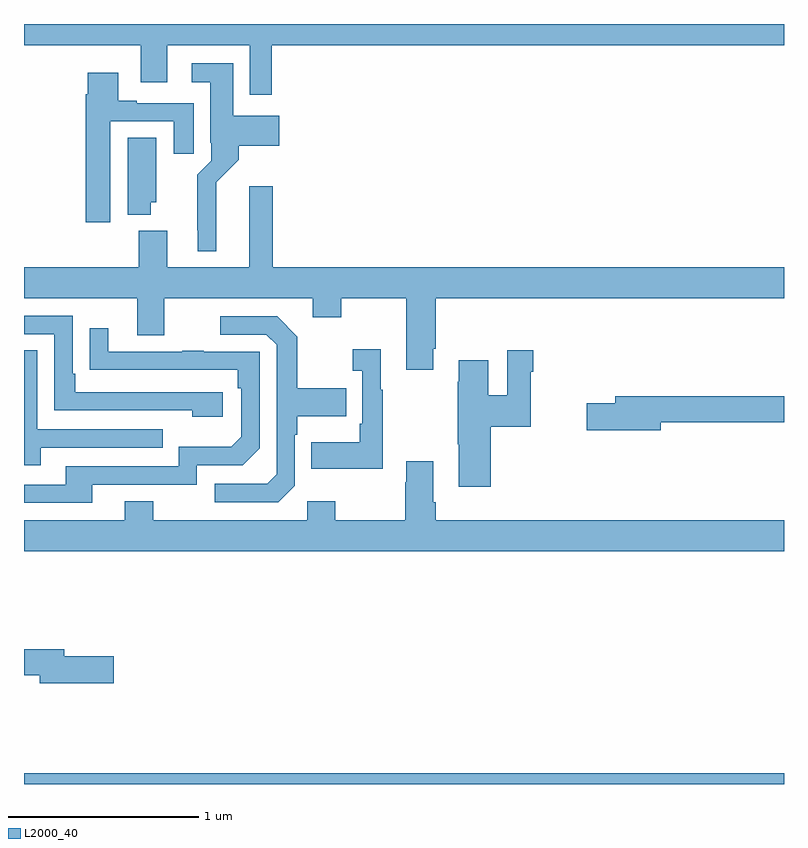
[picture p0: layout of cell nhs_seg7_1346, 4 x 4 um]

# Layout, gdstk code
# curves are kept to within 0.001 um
import gdstk
lib = gdstk.Library(unit=1e-6, precision=1e-09)
def R(c, l, rs):  # rectangles x0, y0, x1, y1
    for r in rs: c.add(gdstk.rectangle(r[:2], r[2:], *l))
def P(c, l, *ps):  # polygons
    for p in ps: c.add(gdstk.Polygon(p, *l))
L2000_40 = (2000, 40)

nhs_seg7_1346 = lib.new_cell('nhs_seg7_1346')
R(nhs_seg7_1346, L2000_40, [(203,1058,207,1058.056)])
P(nhs_seg7_1346, L2000_40, [(204.305,1061.888),(207,1061.888),(207,1062),(203,1062),(203,1061.888),(203.615,1061.888),(203.615,1061.694),(203.755,1061.694),(203.755,1061.888),(204.189,1061.888),(204.189,1061.628),(204.305,1061.628)],
  [(204.013,1061.168),(204.131,1061.286),(204.131,1061.36),(204.343,1061.36),(204.343,1061.518),(204.1,1061.518),(204.1,1061.794),(203.883,1061.794),(203.883,1061.693),(203.981,1061.693),(203.981,1061.374),(203.985,1061.374),(203.985,1061.28),(203.911,1061.206),(203.911,1060.915),(203.915,1060.915),(203.915,1060.805),(204.013,1060.805)],
  [(203.455,1061.487),(203.789,1061.487),(203.789,1061.316),(203.893,1061.316),(203.893,1061.583),(203.593,1061.583),(203.593,1061.596),(203.497,1061.596),(203.497,1061.743),(203.336,1061.743),(203.336,1061.63),(203.324,1061.63),(203.324,1060.956),(203.455,1060.956)],
  [(203.668,1061.061),(203.695,1061.061),(203.695,1061.402),(203.546,1061.402),(203.546,1060.997),(203.668,1060.997)],
  [(205.153,1060.291),(205.166,1060.291),(205.166,1060.556),(207,1060.556),(207,1060.72),(204.308,1060.72),(204.308,1061.146),(204.185,1061.146),(204.185,1060.72),(203.755,1060.72),(203.755,1060.912),(203.603,1060.912),(203.603,1060.72),(203,1060.72),(203,1060.556),(203.597,1060.556),(203.597,1060.362),(203.737,1060.362),(203.737,1060.556),(204.521,1060.556),(204.521,1060.457),(204.669,1060.457),(204.669,1060.556),(205.013,1060.556),(205.013,1060.179),(205.153,1060.179)],
  [(204.046,1060.062),(203.269,1060.062),(203.269,1060.159),(203.256,1060.159),(203.256,1060.464),(203,1060.464),(203,1060.368),(203.16,1060.368),(203.16,1059.966),(203.885,1059.966),(203.885,1059.932),(204.046,1059.932)],
  [(204.426,1059.57),(204.426,1059.839),(204.439,1059.839),(204.439,1059.935),(204.695,1059.935),(204.695,1060.083),(204.439,1060.083),(204.439,1060.355),(204.333,1060.461),(204.033,1060.461),(204.033,1060.365),(204.276,1060.365),(204.33,1060.311),(204.33,1059.63),(204.279,1059.579),(204.003,1059.579),(204.003,1059.483),(204.339,1059.483)],
  [(203.359,1059.576),(203.91,1059.576),(203.91,1059.678),(204.15,1059.678),(204.24,1059.768),(204.24,1060.275),(203.945,1060.275),(203.945,1060.28),(203.833,1060.28),(203.833,1060.275),(203.443,1060.275),(203.443,1060.399),(203.347,1060.399),(203.347,1060.18),(204.124,1060.179),(204.124,1060.082),(204.144,1060.082),(204.144,1059.828),(204.091,1059.775),(203.814,1059.775),(203.814,1059.672),(203.219,1059.672),(203.219,1059.576),(203,1059.576),(203,1059.48),(203.359,1059.48)],
  [(204.889,1060.075),(204.877,1060.075),(204.877,1060.288),(204.729,1060.288),(204.729,1060.175),(204.78,1060.175),(204.78,1059.895),(204.768,1059.895),(204.768,1059.799),(204.511,1059.799),(204.511,1059.659),(204.889,1059.659)],
  [(203.089,1059.771),(203.729,1059.771),(203.729,1059.867),(203.07,1059.867),(203.07,1060.283),(203,1060.283),(203,1059.677),(203.089,1059.677)],
  [(205.457,1059.881),(205.666,1059.881),(205.666,1060.169),(205.679,1060.169),(205.679,1060.282),(205.544,1060.282),(205.544,1060.046),(205.444,1060.046),(205.444,1060.231),(205.289,1060.231),(205.289,1060.118),(205.282,1060.118),(205.282,1059.787),(205.289,1059.787),(205.289,1059.564),(205.457,1059.564)],
  [(206.35,1059.904),(207,1059.904),(207,1060.04),(206.111,1060.04),(206.111,1060.004),(205.962,1060.004),(205.962,1059.862),(206.35,1059.862)],
  [(207,1059.388),(205.166,1059.388),(205.166,1059.484),(205.153,1059.484),(205.153,1059.7),(205.013,1059.7),(205.013,1059.587),(205.006,1059.587),(205.006,1059.388),(204.639,1059.388),(204.639,1059.487),(204.492,1059.487),(204.492,1059.388),(203.679,1059.388),(203.679,1059.487),(203.531,1059.487),(203.531,1059.388),(203,1059.388),(203,1059.224),(207,1059.224)],
  [(203.473,1058.672),(203.212,1058.672),(203.212,1058.708),(203,1058.708),(203,1058.572),(203.084,1058.572),(203.084,1058.53),(203.473,1058.53)])

lib.write_gds('nhs_seg7_1346.gds')
